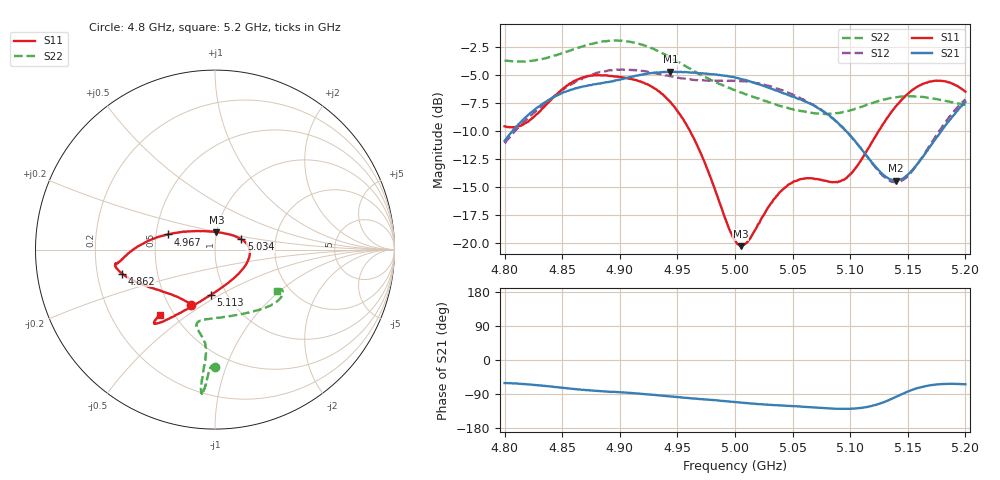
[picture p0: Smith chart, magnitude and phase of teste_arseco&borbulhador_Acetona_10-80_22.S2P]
! Network Analyzer HP8722D
! Hewlett-Packard
! Data name: Linha & Wilkinson
! Saver's name: Rodrigo Anjos
! Comments: Teste da utilização de aquisição
! continua pelo VNA HP8722D
! Time and date: 17/4/2025 14:32
!  Frequency  S11  S21  S12  S22
# HZ  S  MA R 50
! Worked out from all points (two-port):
!   401 points, 4.8 GHz to 5.2 GHz, reference 50 ohm
!   highest |S21| = -4.67 dB at 4.944 GHz (marker M1); lowest = -14.4 dB at 5.14 GHz (marker M2)
!   |S21| within 3 dB of the highest: 4.831 GHz to 5.068 GHz (237.1 MHz wide, 4.79 % of centre); 5.197137 GHz to end of sweep
!   lowest |S11| = -20.2 dB at 5.005 GHz (marker M3), VSWR 1.22, Z = 49.9 + j9.76 ohm
!   |S11| at or under -10 dB: 4.961 GHz to 5.124 GHz (163.3 MHz wide, 3.24 % of centre)
!   |S22| runs from -8.5 to -1.9 dB; largest |S21 - S12| = 0.87
!   S11 on the Smith chart (normalised r, x): 4.8 GHz: 0.65, -0.45; 4.862 GHz: 0.31, -0.11; 4.967 GHz: 0.58, +0.11; 5.034 GHz: 1.33, +0.16; 5.113 GHz: 0.85, -0.45; 5.2 GHz: 0.42, -0.39
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4.8e9  0.3333 -113.2  0.2867 -60.8  0.2803 -175.0  0.6562 -90.0
4.819e9  0.3464 -133.2  0.3687 -64.1  0.357 -173.5  0.6498 -91.6
4.862e9  0.5351 -165.6  0.4939 -76.9  0.5282 -176.7  0.7417 -93.8
4.867e9  0.5485 -167.5  0.5005 -78.5  0.542 -177.5  0.7553 -93.9
4.9e9  0.5534 -172.1  0.5375 -85.0  0.5958 175.8  0.8028 -95.3
4.934e9  0.4773 -178.1  0.5795 -93.5  0.5722 171.8  0.7178 -95.6
4.944e9  0.4272 177.4  0.5838 -96.3  0.557 172.0  0.676 -95.4
4.967e9  0.2753 162.1  0.5755 -102.2  0.5356 174.0  0.5779 -95.0
5e9  0.1035 102.4  0.5502 -111.1  0.5325 176.2  0.4831 -99.2
5.005e9  0.09727 85.1  0.542 -112.4  0.5292 176.2  0.471 -100.3
5.012e9  0.1035 62.1  0.5302 -114.3  0.5249 176.1  0.4576 -101.8
5.034e9  0.1581 21.5  0.4845 -119.2  0.4966 175.1  0.4181 -103.5
5.049e9  0.186 6.2  0.4528 -121.6  0.465 174.3  0.3978 -100.0
5.067e9  0.1952 -12.9  0.4165 -124.7  0.4179 173.8  0.3826 -90.9
5.093e9  0.1917 -57.1  0.3316 -128.8  0.3296 174.0  0.3846 -70.9
5.113e9  0.2525 -94.8  0.2508 -124.9  0.2508 179.5  0.4126 -55.1
5.134e9  0.3746 -116.1  0.1939 -105.0  0.1906 -158.0  0.4443 -43.0
5.14e9  0.4113 -119.6  0.1909 -96.9  0.1881 -148.5  0.4495 -40.3
5.152e9  0.4746 -124.6  0.2076 -80.8  0.2046 -130.0  0.4533 -36.0
5.17e9  0.5289 -128.7  0.2732 -66.5  0.2781 -112.6  0.4451 -31.9
5.184e9  0.5263 -129.9  0.3439 -63.0  0.3553 -107.2  0.4315 -30.9
5.2e9  0.4757 -130.4  0.4282 -64.2  0.4403 -106.4  0.4149 -33.3
